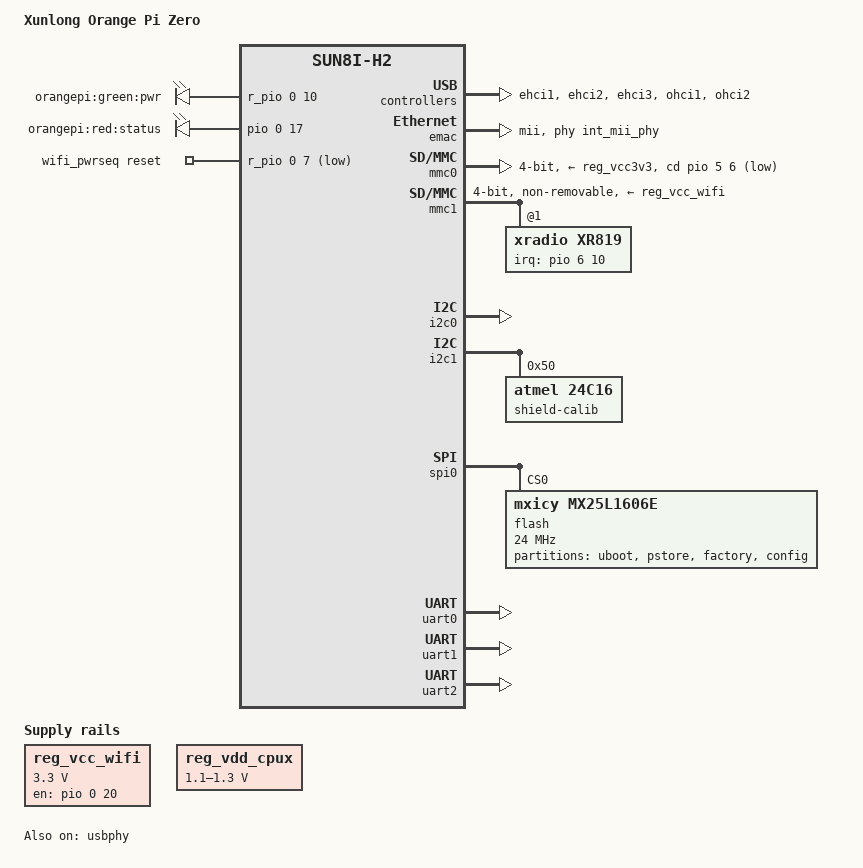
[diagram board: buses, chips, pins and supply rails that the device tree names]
/*
 * Copyright (C) 2016 Icenowy Zheng <icenowy@aosc.xyz>
 *
 * Based on sun8i-h3-orangepi-one.dts, which is:
 *   Copyright (C) 2016 Hans de Goede <hdegoede@redhat.com>
 *
 * This file is dual-licensed: you can use it either under the terms
 * of the GPL or the X11 license, at your option. Note that this dual
 * licensing only applies to this file, and not this project as a
 * whole.
 *
 *  a) This file is free software; you can redistribute it and/or
 *     modify it under the terms of the GNU General Public License as
 *     published by the Free Software Foundation; either version 2 of the
 *     License, or (at your option) any later version.
 *
 *     This file is distributed in the hope that it will be useful,
 *     but WITHOUT ANY WARRANTY; without even the implied warranty of
 *     MERCHANTABILITY or FITNESS FOR A PARTICULAR PURPOSE.  See the
 *     GNU General Public License for more details.
 *
 * Or, alternatively,
 *
 *  b) Permission is hereby granted, free of charge, to any person
 *     obtaining a copy of this software and associated documentation
 *     files (the "Software"), to deal in the Software without
 *     restriction, including without limitation the rights to use,
 *     copy, modify, merge, publish, distribute, sublicense, and/or
 *     sell copies of the Software, and to permit persons to whom the
 *     Software is furnished to do so, subject to the following
 *     conditions:
 *
 *     The above copyright notice and this permission notice shall be
 *     included in all copies or substantial portions of the Software.
 *
 *     THE SOFTWARE IS PROVIDED "AS IS", WITHOUT WARRANTY OF ANY KIND,
 *     EXPRESS OR IMPLIED, INCLUDING BUT NOT LIMITED TO THE WARRANTIES
 *     OF MERCHANTABILITY, FITNESS FOR A PARTICULAR PURPOSE AND
 *     NONINFRINGEMENT. IN NO EVENT SHALL THE AUTHORS OR COPYRIGHT
 *     HOLDERS BE LIABLE FOR ANY CLAIM, DAMAGES OR OTHER LIABILITY,
 *     WHETHER IN AN ACTION OF CONTRACT, TORT OR OTHERWISE, ARISING
 *     FROM, OUT OF OR IN CONNECTION WITH THE SOFTWARE OR THE USE OR
 *     OTHER DEALINGS IN THE SOFTWARE.
 */

/dts-v1/;
#include "sun8i-h3.dtsi"
#include "sunxi-common-regulators.dtsi"

#include <dt-bindings/gpio/gpio.h>
#include <dt-bindings/input/input.h>
#include <dt-bindings/pinctrl/sun4i-a10.h>

/ {
	model = "Xunlong Orange Pi Zero";
	compatible = "xunlong,orangepi-zero", "allwinner,sun8i-h2-plus";

	aliases {
		serial0 = &uart0;
		/* ethernet0 is the H3 emac, defined in sun8i-h3.dtsi */
		ethernet0 = &emac;
		ethernet1 = &xr819;
		i2c0 = "/soc/i2c@1c2ac00";
		i2c1 = "/soc/i2c@1c2b000";
		spi0 = "/soc/spi@01c68000";
	};

	chosen {
		stdout-path = "serial2:115200n8";
	};

	leds {
		compatible = "gpio-leds";

		pwr_led {
			label = "orangepi:green:pwr";
			gpios = <&r_pio 0 10 GPIO_ACTIVE_HIGH>;
			default-state = "on";
		};

		status_led {
			label = "orangepi:red:status";
			gpios = <&pio 0 17 GPIO_ACTIVE_HIGH>;
		};
	};

	reg_vcc_wifi: reg_vcc_wifi {
		compatible = "regulator-fixed";
		regulator-min-microvolt = <3300000>;
		regulator-max-microvolt = <3300000>;
		regulator-name = "vcc-wifi";
		enable-active-high;
		gpio = <&pio 0 20 GPIO_ACTIVE_HIGH>;
	};

	reg_vdd_cpux: vdd-cpux-regulator {
		compatible = "regulator-gpio";
		regulator-name = "vdd-cpux";
		regulator-type = "voltage";
		regulator-boot-on;
		regulator-always-on;
		regulator-min-microvolt = <1100000>;
		regulator-max-microvolt = <1300000>;
		regulator-ramp-delay = <50>; /* 4ms */

		gpios = <&r_pio 0 6 GPIO_ACTIVE_HIGH>; /* PL6 */
		enable-active-high;
		gpios-states = <0>; /* init with 0 (1.1V) since we use fixed 816MHz */
		states = <1100000 0>, <1300000 1>;
	};

	wifi_pwrseq: wifi_pwrseq {
		compatible = "mmc-pwrseq-simple";
		reset-gpios = <&r_pio 0 7 GPIO_ACTIVE_LOW>;
		post-power-on-delay-ms = <200>;
	};
};

&cpu0 {
	cpu-supply = <&reg_vdd_cpux>;
};

&ehci0 {
	status = "disabled";
};

&ehci1 {
	status = "okay";
};

&ehci2 {
	status = "okay";
};

&ehci3 {
	status = "okay";
};

&emac {
	phy-handle = <&int_mii_phy>;
	phy-mode = "mii";
	allwinner,leds-active-low;
	status = "okay";
};

&mmc0 {
	vmmc-supply = <&reg_vcc3v3>;
	bus-width = <4>;
	cd-gpios = <&pio 5 6 GPIO_ACTIVE_LOW>; /* PF6 */
	status = "okay";
};

&mmc1 {
	vmmc-supply = <&reg_vcc_wifi>;
	mmc-pwrseq = <&wifi_pwrseq>;
	bus-width = <4>;
	non-removable;
	status = "okay";

	/*
	 * Explicitly define the sdio device, so that we can add an ethernet
	 * alias for it (which e.g. makes u-boot set a mac-address).
	 */
	xr819: sdio_wifi@1 {
		reg = <1>;
		compatible = "xradio,xr819";
		interrupt-parent = <&pio>;
		interrupts = <6 10 IRQ_TYPE_EDGE_RISING>;
		interrupt-names = "host-wake";
	};
};

&ohci0 {
	status = "disabled";
};

&ohci1 {
	status = "okay";
};

&ohci2 {
	status = "okay";
};

&ohci3 {
	status = "disabled";
};

&i2c0 {
	status = "okay";
};

&i2c1 {
	status = "okay";
	eeprom: eeprom@50 {
		compatible = "atmel,24c16";
		reg = <0x50>;
		pagesize = <16>;
		label = "shield-calib";
	};
};

&spi0 {
	status = "okay";
	#address-cells = <1>;
	#size-cells = <0>;
	flash@0 {
		compatible = "mxicy,mx25l1606e", "jedec,spi-nor";
		reg = <0>;
		spi-max-frequency = <24000000>;
		status = "okay";

		partitions {
			compatible = "fixed-partitions";
			#address-cells = <1>;
			#size-cells = <1>;

			partition@0 { /* mtd0 */
				label = "uboot";
				reg = <0x000000 0x80000>;
			};

			partition@80000 { /* mtd1 */
				label = "pstore";
				reg = <0x80000 0x80000>;
			};

			partition@100000 { /* mtd2 */
				label = "factory";
				reg = <0x100000 0x40000>;
			};

			partition@140000 { /* mtd3 */
				label = "config";
				reg = <0x140000 0xC0000>;
			};
		};

	};
};

&uart0 {
	pinctrl-names = "default";
	pinctrl-0 = <&uart0_pa_pins>;
	status = "okay";
};

&uart1 {
	pinctrl-names = "default";
	pinctrl-0 = <&uart1_pins>;
	status = "okay";
};

&uart2 {
	pinctrl-names = "default";
	pinctrl-0 = <&uart2_pins>;
	status = "okay";
};

&usb_otg {
	dr_mode = "peripheral";
	status = "disabled";
};

&usbphy {
	status = "okay";
};

/* don't exist on OPZ */
&reg_vcc3v0 {
	status = "disabled";
};

&reg_vcc5v0 {
	status = "disabled";
};
